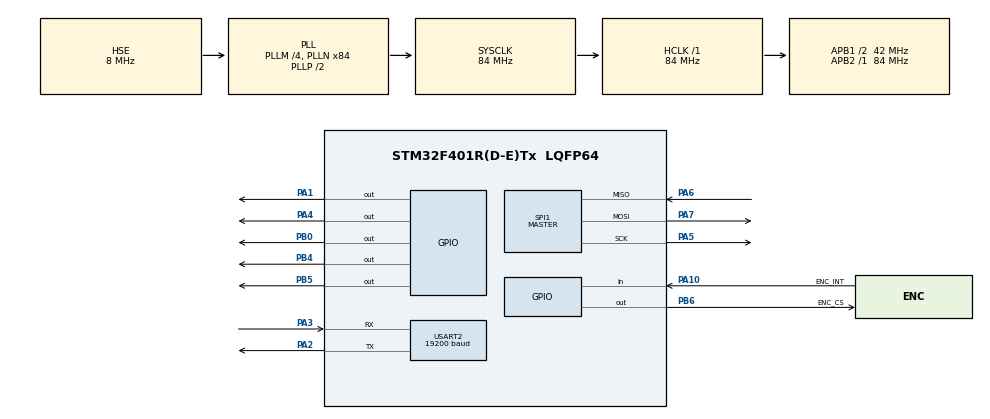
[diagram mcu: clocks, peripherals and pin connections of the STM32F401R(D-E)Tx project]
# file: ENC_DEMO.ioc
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Mcu.Family=STM32F4
Mcu.Name=STM32F401R(D-E)Tx
Mcu.Package=LQFP64
NVIC.PriorityGroup=NVIC_PRIORITYGROUP_0
PA1.Signal=GPIO_Output
PA10.GPIO_Label=ENC_INT
PA10.Signal=GPIO_Input
PA13.Mode=Serial_Wire
PA13.Signal=SYS_JTMS-SWDIO
PA14.Mode=Serial_Wire
PA14.Signal=SYS_JTCK-SWCLK
PA2.Mode=Asynchronous
PA2.Signal=USART2_TX
PA3.Mode=Asynchronous
PA3.Signal=USART2_RX
PA4.Signal=GPIO_Output
PA5.Mode=Full_Duplex_Master
PA5.Signal=SPI1_SCK
PA6.Mode=Full_Duplex_Master
PA6.Signal=SPI1_MISO
PA7.Mode=Full_Duplex_Master
PA7.Signal=SPI1_MOSI
PB0.Signal=GPIO_Output
PB3.Signal=SYS_JTDO-SWO
PB4.Signal=GPIO_Output
PB5.Signal=GPIO_Output
PB6.GPIO_Label=ENC_CS
PB6.Signal=GPIO_Output
PH0\ -\ OSC_IN.Mode=HSE-External-Oscillator
PH0\ -\ OSC_IN.Signal=RCC_OSC_IN
PH1\ -\ OSC_OUT.Mode=HSE-External-Oscillator
PH1\ -\ OSC_OUT.Signal=RCC_OSC_OUT
ProjectManager.HeapSize=0x200
ProjectManager.StackSize=0x400
ProjectManager.TargetToolchain=SW4STM32
RCC.48MHZClocksFreq_Value=24000000
RCC.AHBFreq_Value=84000000
RCC.APB1CLKDivider=RCC_HCLK_DIV2
RCC.APB1Freq_Value=42000000
RCC.APB1TimFreq_Value=84000000
RCC.APB2Freq_Value=84000000
RCC.APB2TimFreq_Value=84000000
RCC.CortexFreq_Value=84000000
RCC.HCLKFreq_Value=84000000
RCC.HSE_VALUE=8000000
RCC.HSI_VALUE=16000000
RCC.LSE_VALUE=32768
RCC.PLLM=4
RCC.PLLN=84
RCC.PLLQ=7
RCC.PLLSourceVirtual=RCC_PLLSOURCE_HSE
RCC.SYSCLKFreq_VALUE=84000000
RCC.SYSCLKSource=RCC_SYSCLKSOURCE_PLLCLK
RCC.VCOOutputFreq_Value=168000000
SPI1.BaudRatePrescaler=SPI_BAUDRATEPRESCALER_8
SPI1.Direction=SPI_DIRECTION_2LINES
SPI1.Mode=SPI_MODE_MASTER
SPI1.VirtualType=VM_MASTER
USART2.BaudRate=19200
USART2.VirtualMode=VM_ASYNC
board=NUCLEO-F401RE

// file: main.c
/* USER CODE BEGIN Header */
/**
  ******************************************************************************
  * @file           : main.c
  * @brief          : Main program body
  ******************************************************************************
  * @attention
  *
  * <h2><center>&copy; Copyright (c) 2019 STMicroelectronics.
  * All rights reserved.</center></h2>
  *
  * This software component is licensed by ST under BSD 3-Clause license,
  * the "License"; You may not use this file except in compliance with the
  * License. You may obtain a copy of the License at:
  *                        opensource.org/licenses/BSD-3-Clause
  *
  ******************************************************************************
  */
/* USER CODE END Header */

#include "main.h"

/* USER CODE BEGIN PD */
#define STATIC 0  // set to 1 to disable DHCP (adjust myip/gwip values below)

/* USER CODE END PD */

SPI_HandleTypeDef hspi1;

UART_HandleTypeDef huart2;

/* USER CODE BEGIN PV */
uint8_t mymac[] = { 0x70,0x69,0x69,0x2D,0x30,0x31 };

#if STATIC
const uint8_t static_ip[] = {192,168,1,118};
const uint8_t gateway_ip[] = {192,168,1,1};
const uint8_t dns_ip[] = {0,0,0,0}; // we are not connected to the net
const uint8_t subnet_mask[] = {255,255,255,0};
#endif
/* USER CODE END PV */

void SystemClock_Config(void);
static void MX_GPIO_Init(void);
static void MX_SPI1_Init(void);
static void MX_USART2_UART_Init(void);

/* USER CODE BEGIN 0 */
// ethernet mac address - must be unique on your network
/*
	this will make it easier to make changes
	to the user parameters.
	these should always be in main and passed
	to accessor function
*/

/*
uint8_t ARP_req[42] = { 0xff,0xff,0xff,0xff,0xff,0xff,0x74,0x69 ,0x69,0x2d,0x30,0x36,0x08,0x06,0x00,0x01,
						0x08,0x00,0x06,0x04,0x00,0x01,0x74,0x69 ,0x69,0x2d,0x30,0x36,0xc0,0xa8,0x01,119,
						0x00,0x00,0x00,0x00,0x00,0x00,0xc0,0xa8 ,0x01,1};
*/

/*
	these are here so we do not have to include main.h or define
	the GPIO names in the other files
	The prototypes however are in STM_ENC28_J60.h so the linker can find them
*/

void enableChip (void) {
    HAL_GPIO_WritePin(ENC_CS_GPIO_Port, ENC_CS_Pin, GPIO_PIN_RESET);
}

void disableChip (void) {
	HAL_GPIO_WritePin(ENC_CS_GPIO_Port, ENC_CS_Pin, GPIO_PIN_SET);
}

//udpSerialPrint -- arduino example to echo the UDP packet to serial port
void udpCallback(uint16_t dest_port, uint8_t src_ip[IP_LEN], uint16_t src_port, const char *data, uint16_t len){
	// since we do not want to mess with serial backchannel, till things are working -- just blink LED
	HAL_GPIO_TogglePin(GPIOB, GPIO_PIN_0);

}

/* USER CODE END 0 */

int main(void)
{

  /* MCU Configuration--------------------------------------------------------*/

  /* Reset of all peripherals, Initializes the Flash interface and the Systick. */
  HAL_Init();

  /* Configure the system clock */
  SystemClock_Config();

  /* Initialize all configured peripherals */
  MX_GPIO_Init();
  MX_SPI1_Init();
  MX_USART2_UART_Init();
  /* USER CODE BEGIN 2 */

  // arduino code does a sizeof on buffer which is pound defined to gPB
  // since this is 'hidden' in the other file we have to set it here
  // for now.
  if(ENC28_Init(mymac))
 	HAL_GPIO_WritePin(GPIOB, GPIO_PIN_5, GPIO_PIN_SET);

/*
	This is a mashup of code from tcpip.cpp and dhcp.cpp,
	and webutil.cpp
*/
	// this tells things to use a static address
	// eventually this should go into the
	// ENC28J60_staticSetup -- which in ways seems redundant
	// as all it does is memcpy's the data to the c++
	// local variables, but it does set flags ...

#if STATIC
  	EtherCard_staticSetup (static_ip, gateway_ip, dns_ip, subnet_mask);
#else
	if (EtherCard_dhcpSetup(NULL,true))
		HAL_GPIO_WritePin(GPIOA, GPIO_PIN_1, GPIO_PIN_SET);
	else
		HAL_GPIO_WritePin(GPIOA, GPIO_PIN_4, GPIO_PIN_SET);

#endif

	/*
		now we have to register a UDP listener call back
		if we want to recieve anything

		this is the default port from the processing example
	*/

	udpServerListenOnPort(&udpCallback, 1337);

  /* USER CODE END 2 */

  /* Infinite loop */
  while (1)
  {

    /* USER CODE BEGIN 3 */
	    /*ENC28_packetSend(42,ARP_req);
	    HAL_Delay(7000);

	    // extra LED pins are on Aurora board
	    HAL_GPIO_TogglePin(GPIOA, GPIO_PIN_1);
		*/

		//this must be called for ethercard functions to work.
  		ENC28J60_packetLoop(ENC28J60_packetReceive());

  }
  /* USER CODE END 3 */
}

void SystemClock_Config(void)
{
  RCC_OscInitTypeDef RCC_OscInitStruct = {0};
  RCC_ClkInitTypeDef RCC_ClkInitStruct = {0};

  /** Configure the main internal regulator output voltage
  */
  __HAL_RCC_PWR_CLK_ENABLE();
  __HAL_PWR_VOLTAGESCALING_CONFIG(PWR_REGULATOR_VOLTAGE_SCALE2);
  /** Initializes the CPU, AHB and APB busses clocks
  */
  RCC_OscInitStruct.OscillatorType = RCC_OSCILLATORTYPE_HSE;
  RCC_OscInitStruct.HSEState = RCC_HSE_ON;
  RCC_OscInitStruct.PLL.PLLState = RCC_PLL_ON;
  RCC_OscInitStruct.PLL.PLLSource = RCC_PLLSOURCE_HSE;
  RCC_OscInitStruct.PLL.PLLM = 4;
  RCC_OscInitStruct.PLL.PLLN = 84;
  RCC_OscInitStruct.PLL.PLLP = RCC_PLLP_DIV2;
  RCC_OscInitStruct.PLL.PLLQ = 7;
  if (HAL_RCC_OscConfig(&RCC_OscInitStruct) != HAL_OK)
  {
    Error_Handler();
  }
  /** Initializes the CPU, AHB and APB busses clocks
  */
  RCC_ClkInitStruct.ClockType = RCC_CLOCKTYPE_HCLK|RCC_CLOCKTYPE_SYSCLK
                              |RCC_CLOCKTYPE_PCLK1|RCC_CLOCKTYPE_PCLK2;
  RCC_ClkInitStruct.SYSCLKSource = RCC_SYSCLKSOURCE_PLLCLK;
  RCC_ClkInitStruct.AHBCLKDivider = RCC_SYSCLK_DIV1;
  RCC_ClkInitStruct.APB1CLKDivider = RCC_HCLK_DIV2;
  RCC_ClkInitStruct.APB2CLKDivider = RCC_HCLK_DIV1;

  if (HAL_RCC_ClockConfig(&RCC_ClkInitStruct, FLASH_LATENCY_2) != HAL_OK)
  {
    Error_Handler();
  }
}

static void MX_SPI1_Init(void)
{

  /* SPI1 parameter configuration*/
  hspi1.Instance = SPI1;
  hspi1.Init.Mode = SPI_MODE_MASTER;
  hspi1.Init.Direction = SPI_DIRECTION_2LINES;
  hspi1.Init.DataSize = SPI_DATASIZE_8BIT;
  hspi1.Init.CLKPolarity = SPI_POLARITY_LOW;
  hspi1.Init.CLKPhase = SPI_PHASE_1EDGE;
  hspi1.Init.NSS = SPI_NSS_SOFT;
  hspi1.Init.BaudRatePrescaler = SPI_BAUDRATEPRESCALER_8;
  hspi1.Init.FirstBit = SPI_FIRSTBIT_MSB;
  hspi1.Init.TIMode = SPI_TIMODE_DISABLE;
  hspi1.Init.CRCCalculation = SPI_CRCCALCULATION_DISABLE;
  hspi1.Init.CRCPolynomial = 10;
  if (HAL_SPI_Init(&hspi1) != HAL_OK)
  {
    Error_Handler();
  }

}

static void MX_USART2_UART_Init(void)
{

  huart2.Instance = USART2;
  huart2.Init.BaudRate = 19200;
  huart2.Init.WordLength = UART_WORDLENGTH_8B;
  huart2.Init.StopBits = UART_STOPBITS_1;
  huart2.Init.Parity = UART_PARITY_NONE;
  huart2.Init.Mode = UART_MODE_TX_RX;
  huart2.Init.HwFlowCtl = UART_HWCONTROL_NONE;
  huart2.Init.OverSampling = UART_OVERSAMPLING_16;
  if (HAL_UART_Init(&huart2) != HAL_OK)
  {
    Error_Handler();
  }

}

static void MX_GPIO_Init(void)
{
  GPIO_InitTypeDef GPIO_InitStruct = {0};

  /* GPIO Ports Clock Enable */
  __HAL_RCC_GPIOH_CLK_ENABLE();
  __HAL_RCC_GPIOA_CLK_ENABLE();
  __HAL_RCC_GPIOB_CLK_ENABLE();

  /*Configure GPIO pin Output Level */
  HAL_GPIO_WritePin(GPIOA, GPIO_PIN_1|GPIO_PIN_4, GPIO_PIN_RESET);

  /*Configure GPIO pin Output Level */
  HAL_GPIO_WritePin(GPIOB, GPIO_PIN_0|GPIO_PIN_4|GPIO_PIN_5|ENC_CS_Pin, GPIO_PIN_RESET);

  /*Configure GPIO pins : PA1 PA4 */
  GPIO_InitStruct.Pin = GPIO_PIN_1|GPIO_PIN_4;
  GPIO_InitStruct.Mode = GPIO_MODE_OUTPUT_PP;
  GPIO_InitStruct.Pull = GPIO_NOPULL;
  GPIO_InitStruct.Speed = GPIO_SPEED_FREQ_LOW;
  HAL_GPIO_Init(GPIOA, &GPIO_InitStruct);

  /*Configure GPIO pins : PB0 PB4 PB5 ENC_CS_Pin */
  GPIO_InitStruct.Pin = GPIO_PIN_0|GPIO_PIN_4|GPIO_PIN_5|ENC_CS_Pin;
  GPIO_InitStruct.Mode = GPIO_MODE_OUTPUT_PP;
  GPIO_InitStruct.Pull = GPIO_NOPULL;
  GPIO_InitStruct.Speed = GPIO_SPEED_FREQ_LOW;
  HAL_GPIO_Init(GPIOB, &GPIO_InitStruct);

  /*Configure GPIO pin : ENC_INT_Pin */
  GPIO_InitStruct.Pin = ENC_INT_Pin;
  GPIO_InitStruct.Mode = GPIO_MODE_INPUT;
  GPIO_InitStruct.Pull = GPIO_NOPULL;
  HAL_GPIO_Init(ENC_INT_GPIO_Port, &GPIO_InitStruct);

}

void Error_Handler(void)
{
}

/************************ (C) COPYRIGHT STMicroelectronics *****END OF FILE****/
